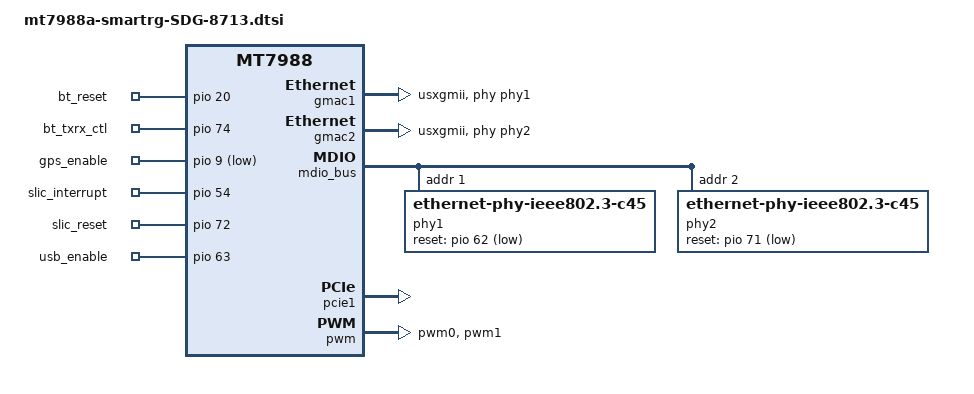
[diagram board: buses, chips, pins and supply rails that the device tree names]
// SPDX-License-Identifier: (GPL-2.0 OR MIT)
/*
 * Copyright (C) 2025 SmartRG Inc.
 * Author: Chad Monroe <chad.monroe@smartrg.com>
 *
 * Mt. Stuart phase 4: dual Realtek RTL8261 10G PHYs, MT7992 radio on
 * pcie1, built-in switch as lan2..lan4. Shared by SDG-8713 and
 * SDG-8713v; the voice variant adds the SLIC on top.
 */

#include "mt7988-smartrg-base.dtsi"
#include "mt7988-smartrg-sysled.dtsi"
#include "mt7988a-smartrg-mt-stuart-gsw.dtsi"

/ {
	aliases {
		label-mac-device = &gmac1;
	};

	chosen {
		linux,usable-memory-range = <0x0 0x40000000 0x0 0x3fc00000>;
	};

	gpio-keys {
		button-sync {
			label = "sync";
			linux,code = <KEY_WPS_BUTTON>;
			gpios = <&pio 14 GPIO_ACTIVE_LOW>;
		};
	};

	/* ballast: exports for unused BT/GPS/SLIC/USB, carried from pre-refactor dtb */
	gpio-export {
		compatible = "gpio-export";

		bluetooth_reset {
			gpio-export,name = "bt_reset";
			gpio-export,direction_may_change;
			gpios = <&pio 20 GPIO_ACTIVE_HIGH>;
		};

		bluetooth_txrx_ctl {
			gpio-export,name = "bt_txrx_ctl";
			gpio-export,direction_may_change;
			gpios = <&pio 74 GPIO_ACTIVE_HIGH>;
		};

		gps_enable {
			gpio-export,name = "gps_enable";
			gpio-export,output = <1>;
			gpios = <&pio 9 GPIO_ACTIVE_LOW>;
		};

		slic_interrupt {
			gpio-export,name = "slic_interrupt";
			gpio-export,direction_may_change;
			gpios = <&pio 54 GPIO_ACTIVE_HIGH>;
		};

		slic_reset {
			gpio-export,name = "slic_reset";
			gpio-export,output = <0>;
			gpios = <&pio 72 GPIO_ACTIVE_HIGH>;
		};

		usb_enable {
			gpio-export,name = "usb_enable";
			gpio-export,output = <1>;
			gpios = <&pio 63 GPIO_ACTIVE_HIGH>;
		};
	};
};

&button_pins {
	pins = "GPIO_RESET", "GPIO_WPS";
};

&gmac1 {
	nvmem-cells = <&macaddr 0x0>;
	nvmem-cell-names = "mac-address";
	label = "lan1";
	phy-mode = "usxgmii";
	phy = <&phy1>;

	status = "okay";
};

&gmac2 {
	nvmem-cells = <&macaddr 0x1>;
	nvmem-cell-names = "mac-address";
	label = "wan";
	phy-mode = "usxgmii";
	phy = <&phy2>;

	status = "okay";
};

&mdio_bus {
	phy1: ethernet-phy@1 {
		/* Realtek RTL8261 - LAN1 */
		compatible = "ethernet-phy-ieee802.3-c45";
		reg = <1>;
		#thermal-sensor-cells = <0>;

		reset-gpios = <&pio 62 GPIO_ACTIVE_LOW>;
		reset-assert-us = <100000>;
		reset-deassert-us = <221000>;

		leds {
			#address-cells = <1>;
			#size-cells = <0>;

			led@0 {
				reg = <0>;
				color = <LED_COLOR_ID_WHITE>;
				function = LED_FUNCTION_LAN;
				function-enumerator = <1>;
			};

			led@1 {
				reg = <1>;
				color = <LED_COLOR_ID_GREEN>;
				function = LED_FUNCTION_LAN;
				function-enumerator = <1>;
				active-low;
			};

			led@3 {
				reg = <3>;
				color = <LED_COLOR_ID_ORANGE>;
				function = LED_FUNCTION_LAN;
				function-enumerator = <1>;
				active-low;
			};
		};
	};

	phy2: ethernet-phy@2 {
		/* Realtek RTL8261 - WAN */
		compatible = "ethernet-phy-ieee802.3-c45";
		reg = <2>;
		#thermal-sensor-cells = <0>;

		reset-gpios = <&pio 71 GPIO_ACTIVE_LOW>;
		reset-assert-us = <100000>;
		reset-deassert-us = <221000>;

		leds {
			#address-cells = <1>;
			#size-cells = <0>;

			led@0 {
				reg = <0>;
				color = <LED_COLOR_ID_WHITE>;
				function = LED_FUNCTION_WAN;
				active-low;
			};

			led@1 {
				reg = <1>;
				color = <LED_COLOR_ID_ORANGE>;
				function = LED_FUNCTION_WAN;
			};

			led@3 {
				reg = <3>;
				color = <LED_COLOR_ID_GREEN>;
				function = LED_FUNCTION_WAN;
			};
		};
	};
};

&emmc_block {
	partitions {
		block-partition-factory {
			partname = "factory";

			nvmem-layout {
				compatible = "fixed-layout";
				#address-cells = <1>;
				#size-cells = <1>;

				eeprom_factory_0: eeprom@0 {
					reg = <0x0 0x1e00>;
				};

				/* mt7992 precal data size */
				precal_factory_1e10: precal@1e10 {
					reg = <0x1e10 0x8b038>;
				};
			};
		};

		block-partition-mfginfo {
			partname = "mfginfo";

			nvmem-layout {
				compatible = "adtran,mfginfo";

				macaddr: mfg-mac {
					#nvmem-cell-cells = <1>;
				};
			};
		};
	};
};

/* ballast: pinctrl and wifi reset on a disabled port, carried from pre-refactor dtb */
&pcie0 {
	pinctrl-names = "default";
	pinctrl-0 = <&pcie0_1_pins>;
	wifi-reset-gpios = <&pio 7 GPIO_ACTIVE_LOW>;
	wifi-reset-msleep = <100>;
	wifi-deassert-msleep = <500>;
	status = "disabled";

	pcie@0,0 {
		reg = <0x0000 0 0 0 0>;
		#address-cells = <3>;
		#size-cells = <2>;
	};
};

&pcie1 {
	wifi-reset-gpios = <&pio 7 GPIO_ACTIVE_LOW>;
	wifi-reset-msleep = <100>;
	wifi-deassert-msleep = <500>;
	status = "okay";

	pcie@0,0 {
		reg = <0x0000 0 0 0 0>;
		#address-cells = <3>;
		#size-cells = <2>;

		radio0: mt7996@0,0 {
			reg = <0x0000 0 0 0 0>;
			#address-cells = <1>;
			#size-cells = <0>;
			nvmem-cells = <&eeprom_factory_0>, <&precal_factory_1e10>;
			nvmem-cell-names = "eeprom", "precal";
			ieee80211-freq-limit = <2400000 2500000>, <5170000 5835000>;

			band@0 {
				/* 2.4 GHz */
				reg = <0>;
				nvmem-cells = <&macaddr 0x4>;
				nvmem-cell-names = "mac-address";
			};

			band@1 {
				/* 5 GHz */
				reg = <1>;
				nvmem-cells = <&macaddr 0xa>;
				nvmem-cell-names = "mac-address";
			};
		};
	};
};

&pio {
	/* ballast: unused pin groups, carried from pre-refactor dtb */
	pcie0_1_pins: pcie0-pins-g1 {
		mux {
			function = "pcie";
			groups = "pcie_2l_0_pereset", "pcie_clk_req_n0_0";
		};
	};

	pwm_pins: pwm-pins {
		mux {
			function = "pwm";
			groups = "pwm0", "pwm1";
		};
	};

	sfp_i2c_pins: sfp-i2c-pins {
		conf-scl {
			pins = "LED_A";
			drive-strength =  <MTK_DRIVE_8mA>;
			bias-pull-up = <MTK_PUPD_SET_R1R0_01>;
		};
		conf-sda {
			pins = "LED_E";
			drive-strength =  <MTK_DRIVE_8mA>;
			bias-disable;
		};
	};

	uart1_pins: uart1-pins {
		mux {
			function = "uart";
			groups = "uart1_2";
		};
	};

	uart2_pins: uart2-pins {
		mux {
			function = "uart";
			groups = "uart2";
		};
	};
};

/* ballast: pwm enabled with no consumer, carried from pre-refactor dtb */
&pwm {
	pinctrl-names = "default";
	pinctrl-0 = <&pwm_pins>;
	status = "okay";
};

/* ballast: pinctrl on disabled uarts, carried from pre-refactor dtb */
&serial1 {
	pinctrl-names = "default";
	pinctrl-0 = <&uart1_pins>;
	status = "disabled";
};

&serial2 {
	pinctrl-names = "default";
	pinctrl-0 = <&uart2_pins>;
	status = "disabled";
};

/* ballast: u3p mask on a disabled controller, carried from pre-refactor dtb */
&ssusb1 {
	mediatek,u3p-dis-msk = <0x1>;
};
